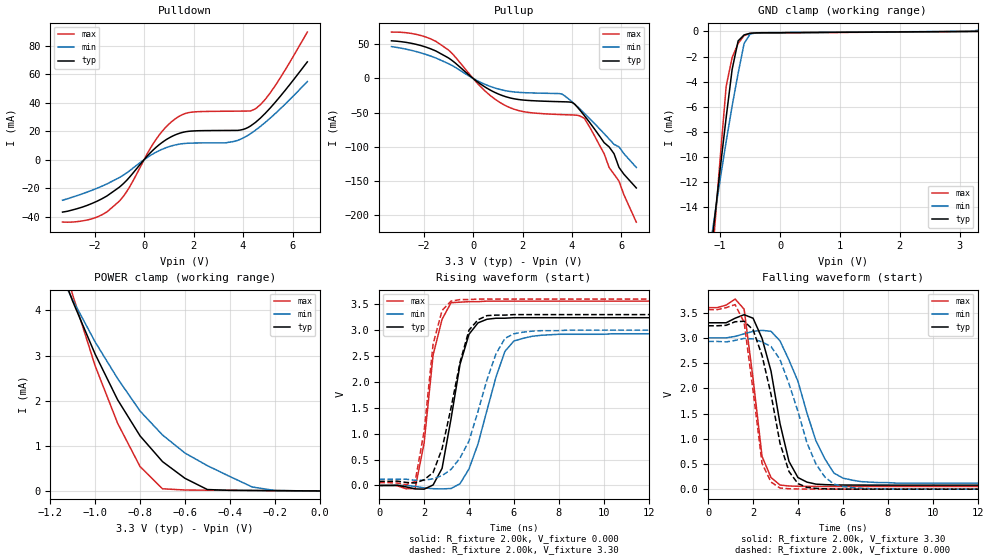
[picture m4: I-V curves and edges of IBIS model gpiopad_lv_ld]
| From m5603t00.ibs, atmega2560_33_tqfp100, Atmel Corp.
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|   Model gpiopad_lv_ld
[Model]   gpiopad_lv_ld
Model_type   I/O
Polarity   Non-Inverting
Enable   Active-High
Vinl =   0.99V
Vinh =   2.31V
Vmeas =   1.65V
Cref =  50.00pF
C_comp   3.86pF   3.86pF   4.44pF
[Temperature Range]   27.00   0.12k   -55.00
[Voltage Range]   3.30V   3.00V   3.60V
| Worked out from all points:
|   slope of the pulldown table from 0 to 0.495 V, typ, clamps not added: 56 ohm
|   slope of the pullup table from 0 to 0.495 V, typ, clamps not added: 38.5 ohm
|   GND clamp passes 1 mA (typ) near -0.71 V on its own axis
|   POWER clamp passes 1 mA (typ) near -0.76 V on its own axis
|   rising waveform, R_fixture 2.00k, V_fixture 0.000: 20-80 % time 841ps typ, 1.18ns min, 639ps max; typ from 0 V to 3.24 V
|   rising waveform, R_fixture 2.00k, V_fixture 3.30: 20-80 % time 971ps typ, 1.31ns min, 617ps max; typ from 0.08 V to 3.3 V
|   falling waveform, R_fixture 2.00k, V_fixture 3.30: 20-80 % time 902ps typ, 1.36ns min, 574ps max; typ from 3.3 V to 0.08 V
|   falling waveform, R_fixture 2.00k, V_fixture 0.000: 20-80 % time 957ps typ, 1.33ns min, 608ps max; typ from 3.24 V to 0 V
[Pulldown]
| voltage   I(typ)   I(min)   I(max)
-3.3V     -36.8mA    -28.46mA   -43.8mA
-1.9V     -29.11mA   -19.99mA   -40.25mA
-1V       -19.25mA   -12.49mA   -29.08mA
-600mV    -12.43mA   -7.87mA    -19.47mA
500mV     9.03mA     5.49mA     14.8mA
1.4V      18.47mA    10.94mA    30.41mA
1.9V      20.19mA    11.72mA    33.47mA
3.6V      20.66mA    12.8mA     34.19mA
4.1V      21.92mA    16.22mA    34.27mA
4.5V      26.26mA    20.78mA    35.82mA
5.3V      40.4mA     32.48mA    52.12mA
6.6V      68.88mA    55.03mA    89.83mA
[Pullup]
| voltage   I(typ)   I(min)   I(max)
-3.3V     54.92mA    46.45mA    67.65mA
-2.3V     49.74mA    39.19mA    64.33mA
-1.5V     39.95mA    29.73mA    54.04mA
-900mV    27.5mA     19.8mA     38.28mA
500mV     -12.96mA   -8.95mA    -18.88mA
1.4V      -27.56mA   -18.51mA   -41.27mA
3.6V      -34.09mA   -23.04mA   -52.89mA
4V        -35.07mA   -34.06mA   -53.4mA
4.5V      -54.3mA    -50.94mA   -58.19mA
5.7V      -110mA     -96.34mA   -140mA
5.9V      -130mA     -100mA     -150mA
6.6V      -160mA     -130mA     -210mA
[GND_clamp]
| voltage   I(typ)   I(min)   I(max)
-3.3V     -130mA     -96.74mA   -170mA
-1.2V     -19.62mA   -18.17mA   -22.41mA
-1.1V     -15.2mA    -14.92mA   -16.14mA
-1V       -10.93mA   -11.78mA   -10.1mA
-900mV    -6.86mA    -8.77mA    -4.37mA
-800mV    -3.02mA    -5.93mA    -2.08mA
-700mV    -760uA     -3.34mA    -960uA
-600mV    -280uA     -970uA     -340uA
-500mV    -150uA     -210uA     -160uA
-400mV    -120uA     -120uA     -130uA
3.1V      -6.38uA    3.33uA     -16.25uA
3.3V      44.96pA    87.18uA    -9.75uA
[POWER_clamp]
| voltage   I(typ)   I(min)   I(max)
-3.3V     47.08mA    37.11mA    62.15mA
-1.2V     5.52mA     5.24mA     6.14mA
-1.1V     4.2mA      4.23mA     4.34mA
-1V       3.03mA     3.3mA      2.77mA
-900mV    2.02mA     2.49mA     1.5mA
-800mV    1.22mA     1.77mA     540uA
-700mV    650uA      1.24mA     47.57uA
-600mV    280uA      840uA      20.21uA
-500mV    30.5uA     560uA      16.27uA
-300mV    9.59uA     87.18uA    9.75uA
-200mV    6.39uA     10.44uA    6.5uA
0V        44.96pA    2.03nA     14.56pA
[Ramp]
| variable   typ   min   max
dV/dt_r   1.95/0.76n   1.76/1.15n   2.13/0.51n
dV/dt_f   1.93/0.81n   1.73/1.33n   2.13/0.54n
R_load = 2.00k
[Rising Waveform]
R_fixture = 2.00k
V_fixture = 0.000
V_fixture_min = 0.000
V_fixture_max = 0.000
| time   V(typ)   V(min)   V(max)
0s        0V         960nV      0V
1.6ns     -66.6mV    -17.98mV   -58.54mV
2ns       -71.55mV   -46.11mV   820mV
2.4ns     9.4mV      -62.96mV   2.52V
2.8ns     330mV      -66.42mV   3.21V
3.2ns     1.29V      -59.08mV   3.53V
4ns       2.92V      320mV      3.55V
5.6ns     3.23V      2.59V      3.56V
6ns       3.24V      2.79V      3.56V
20ns      3.24V      2.93V      3.56V
[Rising Waveform]
R_fixture = 2.00k
V_fixture = 3.30
V_fixture_min = 3.00
V_fixture_max = 3.60
| time   V(typ)   V(min)   V(max)
0s        79.75mV    120mV      52.71mV
1.6ns     47.67mV    100mV      76.57mV
2ns       110mV      99.83mV    1.05V
2.4ns     250mV      130mV      2.73V
2.8ns     710mV      190mV      3.38V
3.2ns     1.5V       310mV      3.56V
4ns       3V         860mV      3.59V
5.2ns     3.29V      2.54V      3.6V
6ns       3.3V       2.93V      3.6V
20ns      3.3V       3V         3.6V
[Falling Waveform]
R_fixture = 2.00k
V_fixture = 3.30
V_fixture_min = 3.00
V_fixture_max = 3.60
| time   V(typ)   V(min)   V(max)
0s        3.3V       3V         3.6V
1.6ns     3.46V      3.08V      3.57V
2.4ns     2.99V      3.15V      650mV
2.8ns     2.34V      3.13V      230mV
3.2ns     1.3V       2.94V      82.33mV
3.6ns     550mV      2.56V      62.76mV
4ns       230mV      2.14V      57.21mV
4.8ns     100mV      960mV      53.73mV
6ns       82.04mV    220mV      52.75mV
20ns      79.75mV    120mV      52.71mV
[Falling Waveform]
R_fixture = 2.00k
V_fixture = 0.000
V_fixture_min = 0.000
V_fixture_max = 0.000
| time   V(typ)   V(min)   V(max)
0s        3.24V      2.93V      3.56V
1.2ns     3.32V      2.95V      3.66V
1.6ns     3.33V      2.99V      3.31V
2ns       3.16V      2.98V      1.95V
2.4ns     2.65V      2.92V      510mV
3.2ns     910mV      2.57V      22.05mV
4ns       110mV      1.54V      3.76mV
4.8ns     15.18mV    500mV      1.04mV
5.6ns     2.91mV     100mV      130uV
20ns      2.5uV      5.73uV     -17.2uV
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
